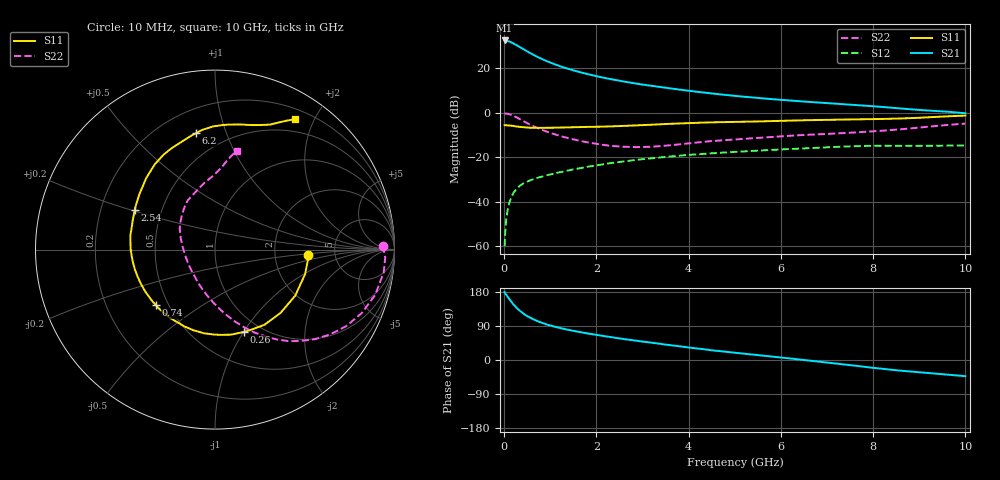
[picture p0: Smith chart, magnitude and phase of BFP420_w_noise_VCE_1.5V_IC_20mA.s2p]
! Infineon Technologies  Discrete & RF Semiconductors
! BFP420
! VCE =  1.5 V,  IC =  20 mA
! Common Emitter S-Parameters:  Jan 2016
# GHz  S  MA  R  50
!  f  S11  S21  S12  S22
! GHz  MAG  ANG  MAG  ANG  MAG  ANG  MAG  ANG
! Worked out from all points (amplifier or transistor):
!   233 points, 10 MHz to 10 GHz, reference 50 ohm
!   highest |S21| = 32.3 dB at 10 MHz (marker M1)
!   |S21| within 3 dB of that: start of sweep to 343.3 MHz
!   unconditionally stable (mu >= 1): 1.767 GHz to end of sweep
!   at 200 MHz: K = 0.23, MSG = 33.6 dB, |S12| = -36.2 dB
!   at 1.74 GHz: K = 1.00, MSG = 21.1 dB, |S12| = -24.6 dB
!   at 10 GHz: K = 1.06, MAG = 5.7 dB, |S12| = -14.8 dB
!   lowest NFmin = 1.23 dB at 900 MHz
!   S11 on the Smith chart (normalised r, x): 10 MHz: 3.15, -0.26; 260 MHz: 0.83, -1.00; 740 MHz: 0.43, -0.33; 2.54 GHz: 0.35, +0.21; 6.2 GHz: 0.35, +0.79; 10 GHz: 0.33, +1.74
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0.01  0.5205 -3.3  41.41 179.3  0.001 113.2  0.9356 1.3
0.02  0.5213 -6.0  40.59 176.6  0.0018 87.7  0.9494 -2.6
0.05  0.5201 -15.3  40.37 171.1  0.0043 84.8  0.9486 -7.6
0.085  0.5134 -25.5  39.66 165.0  0.0072 80.1  0.9321 -13.2
0.15  0.5077 -44.0  37.75 154.2  0.0121 74.1  0.8915 -23.3
0.2  0.5014 -56.7  35.7 146.8  0.0155 69.7  0.8465 -30.2
0.26  0.4861 -70.7  32.89 138.8  0.0189 65.3  0.7875 -37.3
0.3  0.4823 -79.4  31.19 133.9  0.0209 62.7  0.7482 -41.8
0.4  0.4703 -97.4  27.03 123.8  0.025 58.1  0.6561 -51.0
0.5  0.4606 -111.9  23.46 115.7  0.0282 55.3  0.577 -58.3
0.6  0.4558 -123.9  20.54 109.0  0.031 53.5  0.5123 -64.5
0.74  0.4519 -136.9  17.34 101.7  0.0346 52.2  0.4415 -71.6
0.9  0.4533 -148.7  14.55 94.6  0.0384 51.3  0.3794 -78.8
1.1  0.4566 -160.2  12.03 87.7  0.0431 50.9  0.3226 -86.9
1.68  0.4717 176.9  7.859 72.9  0.0572 49.4  0.2271 -109.1
2.54  0.4988 153.7  5.075 56.3  0.0786 44.2  0.1714 -144.9
3.4  0.545 135.9  3.697 42.4  0.0987 37.2  0.1766 179.0
5.1  0.6176 111.6  2.308 17.9  0.1325 22.0  0.2522 138.9
6.2  0.6576 99.2  1.856 4.0  0.1516 12.4  0.3009 122.8
6.8  0.6795 93.0  1.679 -4.0  0.1625 6.6  0.3234 114.5
8.4  0.7239 73.4  1.277 -25.8  0.1791 -11.1  0.4038 92.8
10  0.8529 58.4  0.964 -42.7  0.1818 -23.3  0.5635 77.7
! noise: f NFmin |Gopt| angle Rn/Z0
0.9  1.23  0.16  -154  0.13
1.8  1.51  0.24  -144  0.13
2.4  1.66  0.22  -141  0.15
3  1.69  0.3  -132  0.16
4  1.82  0.42  -115  0.23
5  2.28  0.48  -96  0.37
6  2.65  0.52  -86  0.56
